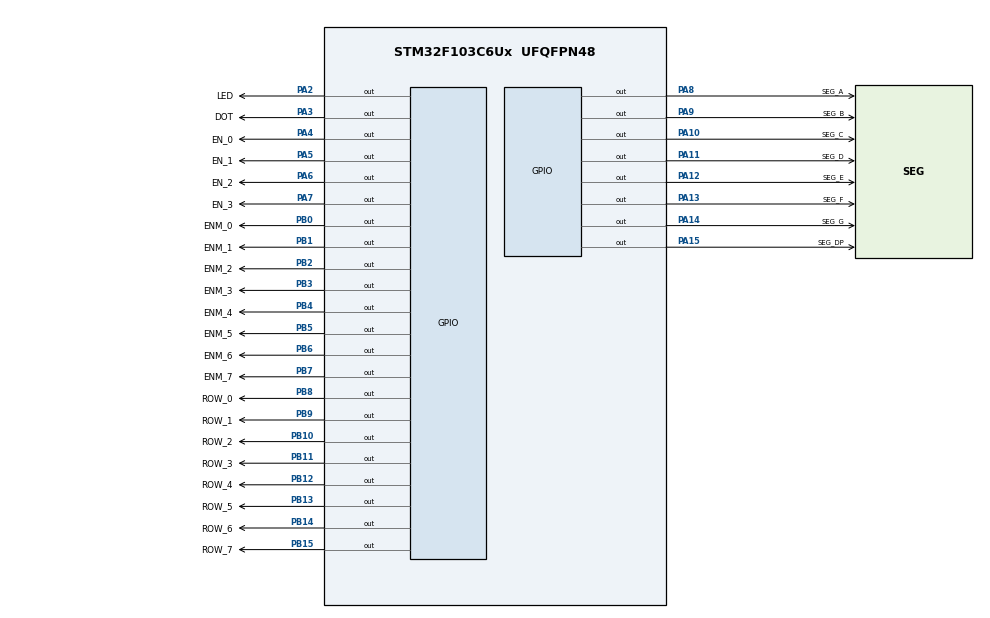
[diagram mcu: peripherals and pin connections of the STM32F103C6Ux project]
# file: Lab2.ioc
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Mcu.Family=STM32F1
Mcu.Name=STM32F103C6Ux
Mcu.Package=UFQFPN48
NVIC.PriorityGroup=NVIC_PRIORITYGROUP_4
NVIC.TIM2_IRQn=true\:0\:0\:false\:false\:true\:true\:true
PA10.GPIO_Label=SEG_C
PA10.Signal=GPIO_Output
PA11.GPIO_Label=SEG_D
PA11.Signal=GPIO_Output
PA12.GPIO_Label=SEG_E
PA12.Signal=GPIO_Output
PA13.GPIO_Label=SEG_F
PA13.Signal=GPIO_Output
PA14.GPIO_Label=SEG_G
PA14.Signal=GPIO_Output
PA15.GPIO_Label=SEG_DP
PA15.Signal=GPIO_Output
PA2.GPIO_Label=LED
PA2.Signal=GPIO_Output
PA3.GPIO_Label=DOT
PA3.Signal=GPIO_Output
PA4.GPIO_Label=EN_0
PA4.Signal=GPIO_Output
PA5.GPIO_Label=EN_1
PA5.Signal=GPIO_Output
PA6.GPIO_Label=EN_2
PA6.Signal=GPIO_Output
PA7.GPIO_Label=EN_3
PA7.Signal=GPIO_Output
PA8.GPIO_Label=SEG_A
PA8.Signal=GPIO_Output
PA9.GPIO_Label=SEG_B
PA9.Signal=GPIO_Output
PB0.GPIO_Label=ENM_0
PB0.Signal=GPIO_Output
PB1.GPIO_Label=ENM_1
PB1.Signal=GPIO_Output
PB10.GPIO_Label=ROW_2
PB10.Signal=GPIO_Output
PB11.GPIO_Label=ROW_3
PB11.Signal=GPIO_Output
PB12.GPIO_Label=ROW_4
PB12.Signal=GPIO_Output
PB13.GPIO_Label=ROW_5
PB13.Signal=GPIO_Output
PB14.GPIO_Label=ROW_6
PB14.Signal=GPIO_Output
PB15.GPIO_Label=ROW_7
PB15.Signal=GPIO_Output
PB2.GPIO_Label=ENM_2
PB2.Signal=GPIO_Output
PB3.GPIO_Label=ENM_3
PB3.Signal=GPIO_Output
PB4.GPIO_Label=ENM_4
PB4.Signal=GPIO_Output
PB5.GPIO_Label=ENM_5
PB5.Signal=GPIO_Output
PB6.GPIO_Label=ENM_6
PB6.Signal=GPIO_Output
PB7.GPIO_Label=ENM_7
PB7.Signal=GPIO_Output
PB8.GPIO_Label=ROW_0
PB8.Signal=GPIO_Output
PB9.GPIO_Label=ROW_1
PB9.Signal=GPIO_Output
ProjectManager.HeapSize=0x200
ProjectManager.StackSize=0x400
ProjectManager.TargetToolchain=STM32CubeIDE
RCC.APB1Freq_Value=8000000
RCC.APB2Freq_Value=8000000
TIM2.Period=9
TIM2.Prescaler=7999
VP_SYS_VS_ND.Mode=No_Debug
VP_TIM2_VS_ClockSourceINT.Mode=Internal
board=custom

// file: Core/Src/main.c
/* USER CODE BEGIN Header */
/**
  ******************************************************************************
  * @file           : main.c
  * @brief          : Main program body
  ******************************************************************************
  * @attention
  *
  * <h2><center>&copy; Copyright (c) 2024 STMicroelectronics.
  * All rights reserved.</center></h2>
  *
  * This software component is licensed by ST under BSD 3-Clause license,
  * the "License"; You may not use this file except in compliance with the
  * License. You may obtain a copy of the License at:
  *                        opensource.org/licenses/BSD-3-Clause
  *
  ******************************************************************************
  */
/* USER CODE END Header */
#include "main.h"

/* USER CODE BEGIN Includes */
#include "software_timer.h"
#include "led_display.h"
/* USER CODE END Includes */

/* USER CODE BEGIN PD */
#define DURATION_0 100
#define DURATION_1 25
#define DURATION_2 100
#define DURATION_3 100
/* USER CODE END PD */

/* USER CODE BEGIN PM */
//todo
/* USER CODE END PM */

TIM_HandleTypeDef htim2;

/* USER CODE BEGIN PV */
int led_index = 0;
int led_buffer[LED_NUMBER] = {0, 0, 0, 0};
/* USER CODE END PV */

void SystemClock_Config(void);
static void MX_GPIO_Init(void);
static void MX_TIM2_Init(void);

int main(void)
{

  /* MCU Configuration--------------------------------------------------------*/

  /* Reset of all peripherals, Initializes the Flash interface and the Systick. */
  HAL_Init();

  /* Configure the system clock */
  SystemClock_Config();

  /* Initialize all configured peripherals */
  MX_GPIO_Init();
  MX_TIM2_Init();
  /* USER CODE BEGIN 2 */
  HAL_GPIO_WritePin(LED_GPIO_Port, LED_Pin, GPIO_PIN_RESET);
  HAL_GPIO_WritePin(DOT_GPIO_Port, DOT_Pin, GPIO_PIN_RESET);
  HAL_TIM_Base_Start_IT(&htim2);
  setTimer0(DURATION_0);
  setTimer1(DURATION_1);
  setTimer2(DURATION_2);
  setTimer3(DURATION_3);
  /* USER CODE END 2 */

  /* Infinite loop */
  /* USER CODE BEGIN WHILE */
  while (1)
  {
	  updateClockBuffer();
	  update7SEG(led_index);
	  display7SEG(led_buffer[led_index]);
	  if (timer0_flag == 1) {
		  setTimer0(DURATION_0);
		  HAL_GPIO_TogglePin(LED_GPIO_Port, LED_Pin);
	  }
	  if (timer1_flag == 1) {
		  setTimer1(DURATION_1);
		  led_index = (led_index + 1) % LED_NUMBER;
	  }
	  if (timer2_flag == 1) {
		  setTimer2(DURATION_2);
		  HAL_GPIO_TogglePin(DOT_GPIO_Port, DOT_Pin);
	  }
	  if (timer3_flag == 1) {
		  setTimer3(DURATION_3);
		  second ++;
		  if (second >= 60) {
			  second = 0;
			  minute ++;
		  }
		  if (minute >= 60) {
			  minute = 0;
			  hour ++;
		  }
		  if (hour >= 24) {
			  hour = 0;
		  }
	  }
    /* USER CODE END WHILE */

  }
}

void SystemClock_Config(void)
{
  RCC_OscInitTypeDef RCC_OscInitStruct = {0};
  RCC_ClkInitTypeDef RCC_ClkInitStruct = {0};

  /** Initializes the RCC Oscillators according to the specified parameters
  * in the RCC_OscInitTypeDef structure.
  */
  RCC_OscInitStruct.OscillatorType = RCC_OSCILLATORTYPE_HSI;
  RCC_OscInitStruct.HSIState = RCC_HSI_ON;
  RCC_OscInitStruct.HSICalibrationValue = RCC_HSICALIBRATION_DEFAULT;
  RCC_OscInitStruct.PLL.PLLState = RCC_PLL_NONE;
  if (HAL_RCC_OscConfig(&RCC_OscInitStruct) != HAL_OK)
  {
    Error_Handler();
  }
  /** Initializes the CPU, AHB and APB buses clocks
  */
  RCC_ClkInitStruct.ClockType = RCC_CLOCKTYPE_HCLK|RCC_CLOCKTYPE_SYSCLK
                              |RCC_CLOCKTYPE_PCLK1|RCC_CLOCKTYPE_PCLK2;
  RCC_ClkInitStruct.SYSCLKSource = RCC_SYSCLKSOURCE_HSI;
  RCC_ClkInitStruct.AHBCLKDivider = RCC_SYSCLK_DIV1;
  RCC_ClkInitStruct.APB1CLKDivider = RCC_HCLK_DIV1;
  RCC_ClkInitStruct.APB2CLKDivider = RCC_HCLK_DIV1;

  if (HAL_RCC_ClockConfig(&RCC_ClkInitStruct, FLASH_LATENCY_0) != HAL_OK)
  {
    Error_Handler();
  }
}

static void MX_TIM2_Init(void)
{

  TIM_ClockConfigTypeDef sClockSourceConfig = {0};
  TIM_MasterConfigTypeDef sMasterConfig = {0};

  htim2.Instance = TIM2;
  htim2.Init.Prescaler = 7999;
  htim2.Init.CounterMode = TIM_COUNTERMODE_UP;
  htim2.Init.Period = 9;
  htim2.Init.ClockDivision = TIM_CLOCKDIVISION_DIV1;
  htim2.Init.AutoReloadPreload = TIM_AUTORELOAD_PRELOAD_DISABLE;
  if (HAL_TIM_Base_Init(&htim2) != HAL_OK)
  {
    Error_Handler();
  }
  sClockSourceConfig.ClockSource = TIM_CLOCKSOURCE_INTERNAL;
  if (HAL_TIM_ConfigClockSource(&htim2, &sClockSourceConfig) != HAL_OK)
  {
    Error_Handler();
  }
  sMasterConfig.MasterOutputTrigger = TIM_TRGO_RESET;
  sMasterConfig.MasterSlaveMode = TIM_MASTERSLAVEMODE_DISABLE;
  if (HAL_TIMEx_MasterConfigSynchronization(&htim2, &sMasterConfig) != HAL_OK)
  {
    Error_Handler();
  }

}

static void MX_GPIO_Init(void)
{
  GPIO_InitTypeDef GPIO_InitStruct = {0};

  /* GPIO Ports Clock Enable */
  __HAL_RCC_GPIOA_CLK_ENABLE();

  /*Configure GPIO pin Output Level */
  HAL_GPIO_WritePin(GPIOA, LED_Pin|DOT_Pin|EN_0_Pin|EN_1_Pin
                          |EN_2_Pin|EN_3_Pin|SEG_A_Pin|SEG_B_Pin
                          |SEG_C_Pin|SEG_D_Pin|SEG_E_Pin|SEG_F_Pin
                          |SEG_G_Pin|SEG_DP_Pin, GPIO_PIN_RESET);

  /*Configure GPIO pins : LED_Pin DOT_Pin EN_0_Pin EN_1_Pin
                           EN_2_Pin EN_3_Pin SEG_A_Pin SEG_B_Pin
                           SEG_C_Pin SEG_D_Pin SEG_E_Pin SEG_F_Pin
                           SEG_G_Pin SEG_DP_Pin */
  GPIO_InitStruct.Pin = LED_Pin|DOT_Pin|EN_0_Pin|EN_1_Pin
                          |EN_2_Pin|EN_3_Pin|SEG_A_Pin|SEG_B_Pin
                          |SEG_C_Pin|SEG_D_Pin|SEG_E_Pin|SEG_F_Pin
                          |SEG_G_Pin|SEG_DP_Pin;
  GPIO_InitStruct.Mode = GPIO_MODE_OUTPUT_PP;
  GPIO_InitStruct.Pull = GPIO_NOPULL;
  GPIO_InitStruct.Speed = GPIO_SPEED_FREQ_LOW;
  HAL_GPIO_Init(GPIOA, &GPIO_InitStruct);

}

/* USER CODE BEGIN 4 */
void HAL_TIM_PeriodElapsedCallback(TIM_HandleTypeDef *htim) {
	runTimer();
}
/* USER CODE END 4 */

void Error_Handler(void)
{
  __disable_irq();
  while (1)
  {
  }
}

/************************ (C) COPYRIGHT STMicroelectronics *****END OF FILE****/
